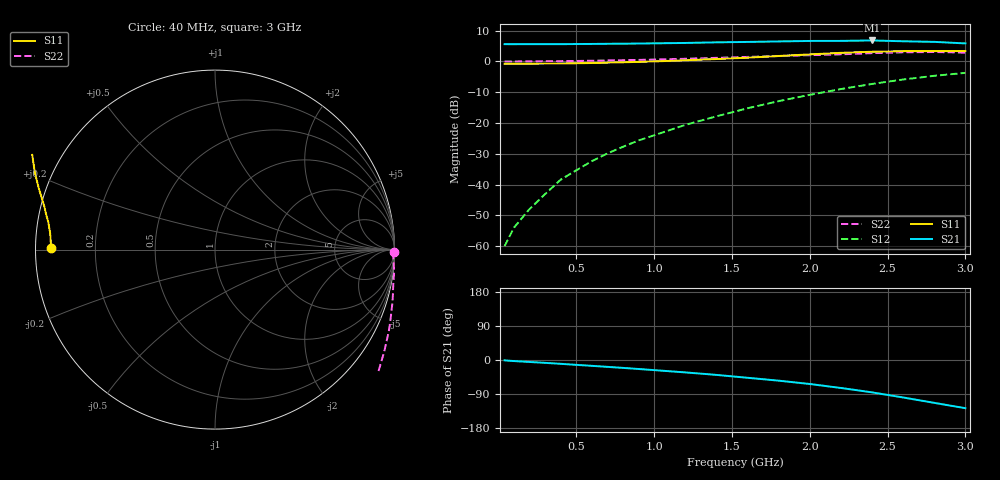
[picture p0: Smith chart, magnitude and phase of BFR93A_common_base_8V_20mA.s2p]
! Filename:  BFR93ACG.S2P  Version:  2.0
! Philips part #: BFR93A  Date: Jul 1990
! Bias condition: Vce=8V, Ic=20mA
! COMMON BASE
#  MHz  S  MA  R  50
! Freq  S11  S21  S12  S22
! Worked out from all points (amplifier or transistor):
!   21 points, 40 MHz to 3 GHz, reference 50 ohm
!   highest |S21| = 6.8 dB at 2.4 GHz (marker M1)
!   |S21| within 3 dB of that: start of sweep to end of sweep
!   unconditionally stable (mu >= 1): start of sweep to 45.33 MHz
!   at 300 MHz: K = -0.62, MSG = 24.3 dB, |S12| = -43.1 dB
!   at 1 GHz: K = -0.93, MSG = 14.9 dB, |S12| = -24.0 dB
!   at 3 GHz: K = -0.83, MSG = 4.8 dB, |S12| = -3.7 dB
40  0.916 179.3  1.901 -0.9  0.001 38.6  0.995 -0.8
100  0.915 178.2  1.9 -2.8  0.002 84.7  0.994 -2.5
200  0.917 176.8  1.903 -5.2  0.004 109.2  0.999 -4.7
300  0.92 175.3  1.901 -7.5  0.007 122.5  1.006 -7.1
400  0.925 173.8  1.902 -10.1  0.012 131.8  1.009 -9.6
500  0.932 172.4  1.912 -12.8  0.017 137.2  1.015 -12.1
600  0.94 170.8  1.918 -15.4  0.024 140.0  1.024 -14.6
700  0.953 169.2  1.929 -18.1  0.032 141.6  1.034 -17.3
800  0.966 167.6  1.936 -20.8  0.041 143.1  1.044 -19.9
900  0.981 165.8  1.947 -23.7  0.052 144.3  1.056 -22.4
1000  0.998 164.2  1.962 -26.7  0.063 143.9  1.07 -25.2
1200  1.041 160.7  1.99 -32.7  0.093 143.5  1.101 -31.1
1400  1.091 156.9  2.036 -39.3  0.128 141.0  1.141 -37.4
1600  1.147 152.6  2.068 -46.9  0.173 138.5  1.181 -44.1
1800  1.222 147.6  2.107 -54.5  0.226 134.3  1.22 -51.6
2000  1.298 142.3  2.145 -63.3  0.286 129.2  1.26 -60.3
2200  1.375 136.6  2.15 -73.8  0.355 123.3  1.301 -70.6
2400  1.433 129.6  2.185 -85.4  0.43 115.9  1.359 -81.8
2600  1.463 121.5  2.12 -98.9  0.508 108.0  1.403 -93.0
2800  1.467 111.8  2.072 -113.1  0.583 98.9  1.418 -104.7
3000  1.47 102.0  1.957 -127.2  0.651 90.9  1.388 -116.2
